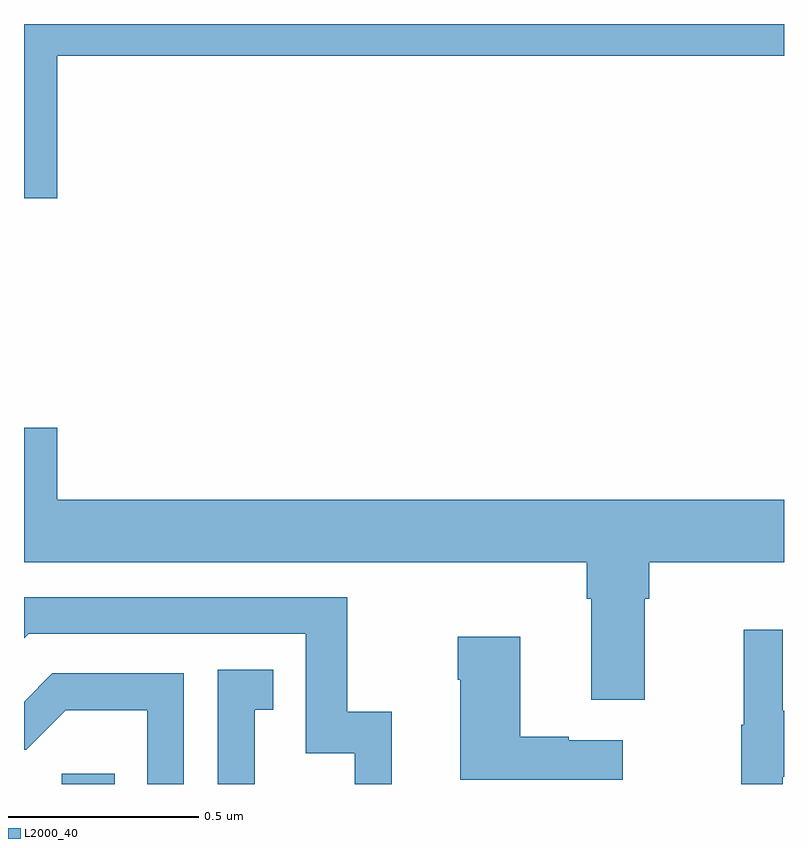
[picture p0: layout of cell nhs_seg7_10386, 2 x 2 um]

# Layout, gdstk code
import gdstk
lib = gdstk.Library(unit=1e-6, precision=1e-09)
def R(c, l, rs):  # rectangles x0, y0, x1, y1
    for r in rs: c.add(gdstk.rectangle(r[:2], r[2:], *l))
def P(c, l, *ps):  # polygons
    for p in ps: c.add(gdstk.Polygon(p, *l))
L2000_40 = (2000, 40)

nhs_seg7_10386 = lib.new_cell('nhs_seg7_10386')
R(nhs_seg7_10386, L2000_40, [(249.099,1032,249.239,1032.027)])
P(nhs_seg7_10386, L2000_40, [(249.088,1033.916),(251,1033.916),(251,1034),(249,1034),(249,1033.542),(249.088,1033.542)],
  [(250.633,1032.488),(250.646,1032.488),(250.646,1032.584),(251,1032.584),(251,1032.748),(249.088,1032.748),(249.088,1032.937),(249,1032.937),(249,1032.584),(250.481,1032.584),(250.481,1032.488),(250.493,1032.488),(250.493,1032.222),(250.633,1032.222)],
  [(249.968,1032.19),(249.85,1032.19),(249.85,1032.492),(249,1032.492),(249,1032.384),(249.012,1032.396),(249.741,1032.396),(249.741,1032.081),(249.87,1032.081),(249.87,1032),(249.968,1032)],
  [(250.997,1032.019),(251,1032.019),(251,1032.193),(250.997,1032.193),(250.997,1032.406),(250.894,1032.406),(250.894,1032.156),(250.887,1032.156),(250.887,1032),(250.997,1032)],
  [(250.576,1032.115),(250.433,1032.115),(250.433,1032.125),(250.306,1032.125),(250.306,1032.388),(250.141,1032.388),(250.141,1032.275),(250.148,1032.275),(250.148,1032.011),(250.576,1032.011)],
  [(249.607,1032.195),(249.656,1032.195),(249.656,1032.301),(249.51,1032.301),(249.51,1032),(249.607,1032)],
  [(249.42,1032.291),(249.074,1032.291),(249,1032.217),(249,1032.09),(249.006,1032.09),(249.11,1032.194),(249.324,1032.194),(249.324,1032),(249.42,1032)])

lib.write_gds('nhs_seg7_10386.gds')
